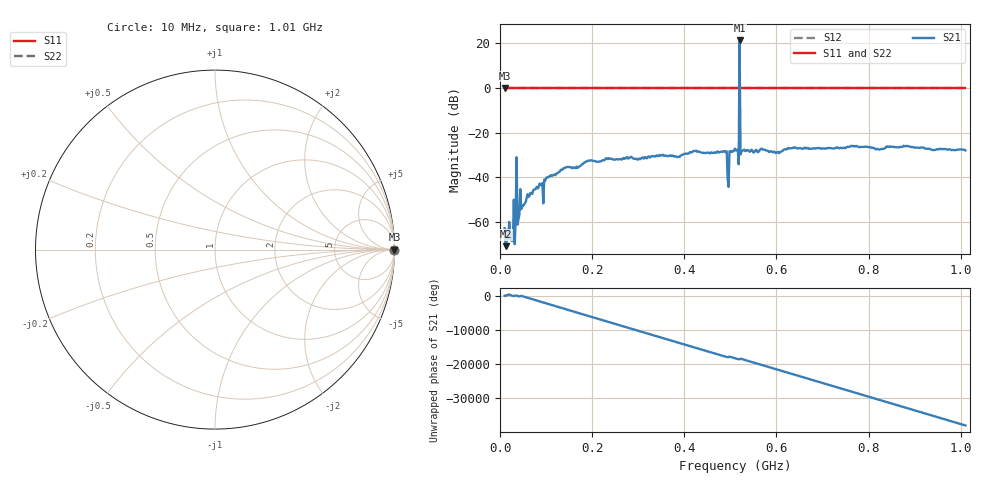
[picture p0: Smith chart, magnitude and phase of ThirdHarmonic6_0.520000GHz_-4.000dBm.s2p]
! 8/15/2025 3:59:26 PM
! C:\ANRITSUVNA\TEMP\TEMP.S2P
! CHANNEL.1
! TR.MEASUREMENT
! RAW.DATA
! RF.CORRECTION.OFF
! AVERAGING.OFF
! IF.BANDWIDTH: 5KHZ
! SWEEPTYPE:  FREQ.SWEEP(Linear)
! Reference Plane Port Info
! PORT:  PORT1  PORT2
! DISTANCE:  0  m  0  m
! TIME:  0  s  0  s
! PHASE.OFFSET:  0  deg.  0  deg.
! LOSS:  0  dB  0  dB
! REF.LOSS:  0  dB  0  dB
! REF.FREQ:  0  Hz  0  Hz
! Power Info
! POWER:  -20  dBm  -20  dBm
! EFF.POWER:  -20  dBm  -20  dBm
! SOURCE.ATTEN:  0  dB  0  dB
! TEST.ATTEN:  0  dB  0  dB
# GHZ S RI R 50.0
! FREQ.GHZ  S11RE  S11IM  S21RE  S21IM  S12RE  S12IM  S22RE  S22IM
!; PortSelection: Port_12
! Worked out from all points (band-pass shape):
!   501 points, 10 MHz to 1.01 GHz, reference 50 ohm
!   highest |S21| = 21.22 dB at 520 MHz (marker M1); lowest = -70.9 dB at 12 MHz (marker M2)
!   |S21| within 3 dB of the highest: 519.8918 MHz to 520.1175 MHz (225.7 kHz wide, 0.0434 % of centre)
!   lowest |S11| = 0.0 dB at 10 MHz (marker M3)
!   |S11| at or under -10 dB: nowhere
!   |S22| runs from 0.0 to 0.0 dB; largest |S21 - S12| = 12
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0.01  1 0  -0.000676 0.000246  1 0  1 0
0.012  1 0  9.01e-05 -0.00027  1 0  1 0
0.028  1 0  -0.000172 0.000332  1 0  1 0
0.032  1 0  -0.000301 -9.57e-05  1 0  1 0
0.04  1 0  0.000875 0.000692  1 0  1 0
0.042  1 0  0.00113 -0.000907  1 0  1 0
0.104  1 0  0.00519 -0.00838  1 0  1 0
0.178  1 0  -0.0193 -0.00292  1 0  1 0
0.344  1 0  0.0276 -0.0107  1 0  1 0
0.488  1 0  0.0229 -0.0295  1 0  1 0
0.492  1 0  -0.0328 0.0194  1 0  1 0
0.498  1 0  0.00158 -0.0377  1 0  1 0
0.502  1 0  -0.0123 0.0364  1 0  1 0
0.51  1 0  -0.0335 0.0278  1 0  1 0
0.514  1 0  0.0391 -0.0093  1 0  1 0
0.516  1 0  -0.00356 -0.0414  1 0  1 0
0.52  1 0  -2.86 -11.15  1 0  1 0
0.524  1 0  0.0188 -0.0327  1 0  1 0
0.526  1 0  -0.0287 -0.0263  1 0  1 0
0.678  1 0  -0.0289 -0.0328  1 0  1 0
0.844  1 0  0.0424 0.0207  1 0  1 0
1.01  1 0  -0.0394 0.00519  1 0  1 0
